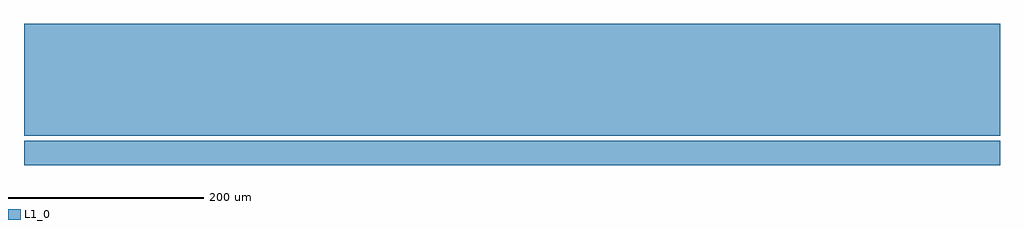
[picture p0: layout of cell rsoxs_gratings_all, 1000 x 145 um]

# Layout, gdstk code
import gdstk
lib = gdstk.Library(unit=1e-6, precision=1e-09)
def R(c, l, rs):  # rectangles x0, y0, x1, y1
    for r in rs: c.add(gdstk.rectangle(r[:2], r[2:], *l))
L1_0 = (1, 0)

rsoxs_gratings_all_atm = lib.new_cell('rsoxs_gratings_all_atm')
R(rsoxs_gratings_all_atm, L1_0, [(0,0,1000,15), (0,0,1000,20), (0,0,1000,25)])

rsoxs_gratings_all = lib.new_cell('rsoxs_gratings_all')
r = gdstk.Reference(rsoxs_gratings_all_atm, (0,0)); r.repetition = gdstk.Repetition(1, 5, v1=(0,0), v2=(0,30)); rsoxs_gratings_all.add(r)
r = gdstk.Reference(rsoxs_gratings_all_atm, (0,0)); r.repetition = gdstk.Repetition(1, 4, v1=(0,0), v2=(0,40)); rsoxs_gratings_all.add(r)
r = gdstk.Reference(rsoxs_gratings_all_atm, (0,0)); r.repetition = gdstk.Repetition(1, 3, v1=(0,0), v2=(0,50)); rsoxs_gratings_all.add(r)

lib.write_gds('rsoxs_gratings_all.gds')
